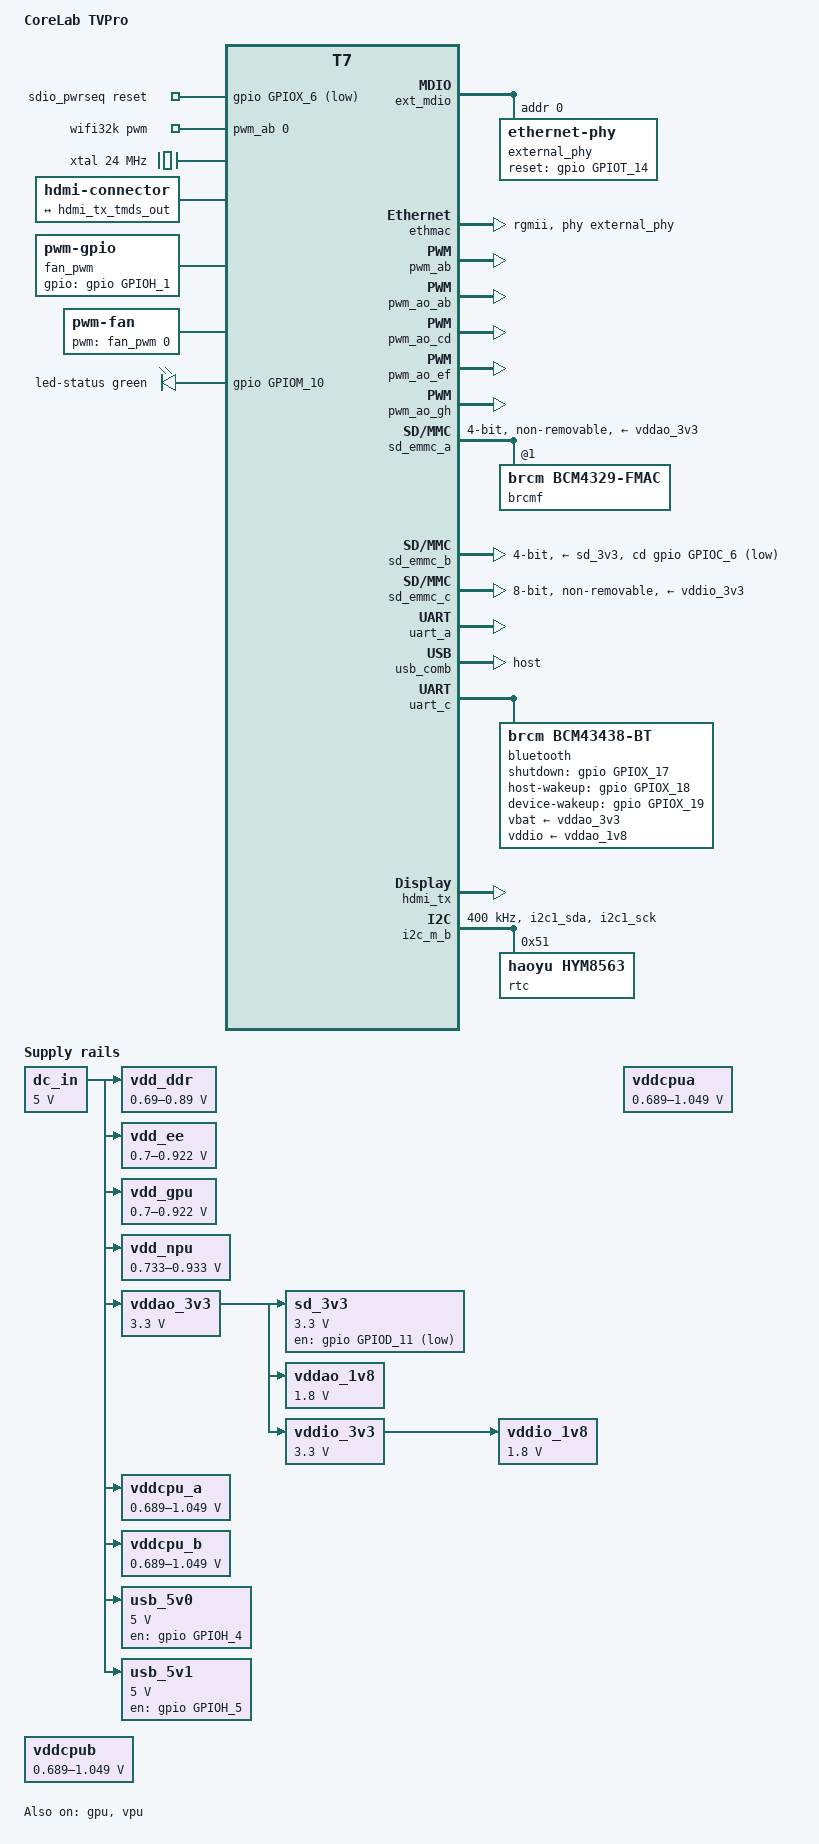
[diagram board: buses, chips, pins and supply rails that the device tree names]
// SPDX-License-Identifier: (GPL-2.0+ OR MIT)
/*
 * Copyright (c) 2022 Wesion, Inc. All rights reserved.
 */

#include "amlogic-t7.dtsi"
#include <dt-bindings/gpio/amlogic,t7-periphs-pinctrl.h>
#include <dt-bindings/gpio/gpio.h>
#include <dt-bindings/leds/common.h>
#include <dt-bindings/pwm/pwm.h>

/ {
	model = "CoreLab TVPro";
	compatible = "corelab,tvpro", "amlogic,a311d2", "amlogic,t7";

	aliases {
		serial0 = &uart_a;
		mmc0 = &sd_emmc_c;
		mmc1 = &sd_emmc_b;
		mmc2 = &sd_emmc_a;
		rtc0 = &rtc;
		rtc1 = &vrtc;
	};

	reserved-memory {
		#address-cells = <2>;
		#size-cells = <2>;
		ranges;

		/* 3 MiB reserved for ARM Trusted Firmware (BL31) */
		secmon_reserved: secmon@5000000 {
			reg = <0x0 0x05000000 0x0 0x300000>;
			no-map;
		};

		/* 32 MiB reserved for ARM Trusted Firmware (BL32) */
		secmon_reserved_bl32: secmon@5300000 {
			reg = <0x0 0x05300000 0x0 0x2000000>;
			no-map;
		};

		/* 16 MiB reserved for PCIe BL31 memory-protection via SMC */
	};

	dc_in: regulator-dc-in {
		compatible = "regulator-fixed";
		regulator-name = "DC_IN";
		regulator-min-microvolt = <5000000>;
		regulator-max-microvolt = <5000000>;
		regulator-always-on;
	};

	sd_3v3: regulator-sdcard-3v3 {
		compatible = "regulator-fixed";
		regulator-name = "SD_3V3";
		regulator-min-microvolt = <3300000>;
		regulator-max-microvolt = <3300000>;
		vin-supply = <&vddao_3v3>;
		gpio = <&gpio GPIOD_11 GPIO_ACTIVE_LOW>;
		regulator-boot-on;
	};

	sdio_pwrseq: sdio-pwrseq {
		compatible = "mmc-pwrseq-simple";
		reset-gpios = <&gpio GPIOX_6 GPIO_ACTIVE_LOW>;
		post-power-on-delay-ms = <500>;
		power-off-delay-us = <200000>;
		clocks = <&wifi32k>;
		clock-names = "ext_clock";
	};

	vdd_ddr: regulator-vddddr {
		/*
		 * SY8003ADFC Regulator.
		 */
		compatible = "pwm-regulator";
		regulator-name = "VDDDDR";
		regulator-min-microvolt = <690000>;
		regulator-max-microvolt = <890000>;
		pwm-supply = <&dc_in>;
		pwms = <&pwm_ao_gh 0 1500 0>;
		pwm-dutycycle-range = <100 0>;
		regulator-boot-on;
		regulator-always-on;
	};

	vdd_ee: regulator-vddee {
		/*
		 * MP8756GD Regulator.
		 */
		compatible = "pwm-regulator";
		regulator-name = "VDDEE";
		regulator-min-microvolt = <700000>;
		regulator-max-microvolt = <922000>;
		pwm-supply = <&dc_in>;
		pwms = <&pwm_ao_ab 0 1500 0>;
		pwm-dutycycle-range = <100 0>;
		regulator-boot-on;
		regulator-always-on;
	};

	vdd_gpu: regulator-vddgpu {
		/*
		 * SY8003ADFC Regulator.
		 */
		compatible = "pwm-regulator";
		regulator-name = "VDDGPU";
		regulator-min-microvolt = <700000>;
		regulator-max-microvolt = <922000>;
		pwm-supply = <&dc_in>;
		pwms = <&pwm_ao_ef 0 1500 0>;
		pwm-dutycycle-range = <100 0>;
		regulator-boot-on;
		regulator-always-on;
	};

	vdd_npu: regulator-vddnpu {
		/*
		 * SY8003ADFC Regulator.
		 */
		compatible = "pwm-regulator";
		regulator-name = "VDDNPU";
		regulator-min-microvolt = <733000>;
		regulator-max-microvolt = <933000>;
		pwm-supply = <&dc_in>;
		pwms = <&pwm_ao_ef 1 1500 0>;
		pwm-dutycycle-range = <100 0>;
		regulator-boot-on;
		regulator-always-on;
	};

	vddao_1v8: regulator-vddao-1v8 {
		compatible = "regulator-fixed";
		regulator-name = "VDDAO_1V8";
		regulator-min-microvolt = <1800000>;
		regulator-max-microvolt = <1800000>;
		vin-supply = <&vddao_3v3>;
		regulator-always-on;
	};

	vddao_3v3: regulator-vddao-3v3 {
		compatible = "regulator-fixed";
		regulator-name = "VDDAO_3V3";
		regulator-min-microvolt = <3300000>;
		regulator-max-microvolt = <3300000>;
		vin-supply = <&dc_in>;
		regulator-always-on;
	};

	vddcpu_a: regulator-vddcpu-a {
		/*
		 * MP8756GD Regulator.
		 */
		compatible = "pwm-regulator";
		regulator-name = "VDDCPU_A";
		regulator-min-microvolt = <689000>;
		regulator-max-microvolt = <1049000>;
		pwm-supply = <&dc_in>;
		pwms = <&pwm_ao_cd 1 1500 0>;
		pwm-dutycycle-range = <100 0>;
		regulator-boot-on;
		regulator-always-on;
	};

	vddcpu_b: regulator-vddcpu-b {
		/*
		 * MP8756GD Regulator.
		 */
		compatible = "pwm-regulator";
		regulator-name = "VDDCPU_B";
		regulator-min-microvolt = <689000>;
		regulator-max-microvolt = <1049000>;
		pwm-supply = <&dc_in>;
		pwms = <&pwm_ao_ab 1 1500 0>;
		pwm-dutycycle-range = <100 0>;
		regulator-boot-on;
		regulator-always-on;
	};

	vddio_1v8: regulator-vddio-1v8 {
		compatible = "regulator-fixed";
		regulator-name = "VDDIO_1V8";
		regulator-min-microvolt = <1800000>;
		regulator-max-microvolt = <1800000>;
		vin-supply = <&vddio_3v3>;
		regulator-always-on;
	};

	vddio_3v3: regulator-vddio-3v3 {
		compatible = "regulator-fixed";
		regulator-name = "VDDIO_3V3";
		regulator-min-microvolt = <3300000>;
		regulator-max-microvolt = <3300000>;
		vin-supply = <&vddao_3v3>;
		regulator-always-on;
	};

	wifi32k: wifi32k {
		compatible = "pwm-clock";
		#clock-cells = <0>;
		clock-frequency = <32768>;
			pwms = <&pwm_ab 0 30518 0>;
	};

	xtal: xtal-clk {
		compatible = "fixed-clock";
		clock-frequency = <24000000>;
		clock-output-names = "xtal";
		#clock-cells = <0>;
	};

	vddcpua: regulator-vddcpu-a {
		compatible = "pwm-regulator";
		regulator-name = "VDDCPU_A";
		regulator-min-microvolt = <689000>;
		regulator-max-microvolt = <1049000>;
		/* the filtered PWM output needs time to settle */
		regulator-ramp-delay = <150>;
		pwms = <&pwm_ao_cd 1 1500 0>;
		voltage-table = <1049000 0>,
				<1039000 3>,
				<1029000 6>,
				<1019000 9>,
				<1009000 12>,
				<999000 14>,
				<989000 17>,
				<979000 20>,
				<969000 23>,
				<959000 26>,
				<949000 29>,
				<939000 31>,
				<929000 34>,
				<919000 37>,
				<909000 40>,
				<899000 43>,
				<889000 45>,
				<879000 48>,
				<869000 51>,
				<859000 54>,
				<849000 56>,
				<839000 59>,
				<829000 62>,
				<819000 65>,
				<809000 68>,
				<799000 70>,
				<789000 73>,
				<779000 76>,
				<769000 79>,
				<759000 81>,
				<749000 84>,
				<739000 87>,
				<729000 89>,
				<719000 92>,
				<709000 95>,
				<699000 98>,
				<689000 100>;
		regulator-boot-on;
		regulator-always-on;
	};

	vddcpub: regulator-vddcpu-b {
		compatible = "pwm-regulator";
		regulator-name = "VDDCPU_B";
		regulator-min-microvolt = <689000>;
		regulator-max-microvolt = <1049000>;
		/* the filtered PWM output needs time to settle */
		regulator-ramp-delay = <150>;
		pwms = <&pwm_ao_ab 1 1500 0>;
		voltage-table = <1049000 0>,
				<1039000 3>,
				<1029000 6>,
				<1019000 9>,
				<1009000 12>,
				<999000 14>,
				<989000 17>,
				<979000 20>,
				<969000 23>,
				<959000 26>,
				<949000 29>,
				<939000 31>,
				<929000 34>,
				<919000 37>,
				<909000 40>,
				<899000 43>,
				<889000 45>,
				<879000 48>,
				<869000 51>,
				<859000 54>,
				<849000 56>,
				<839000 59>,
				<829000 62>,
				<819000 65>,
				<809000 68>,
				<799000 70>,
				<789000 73>,
				<779000 76>,
				<769000 79>,
				<759000 81>,
				<749000 84>,
				<739000 87>,
				<729000 89>,
				<719000 92>,
				<709000 95>,
				<699000 98>,
				<689000 100>;
		regulator-boot-on;
		regulator-always-on;
	};


	sound {
		compatible = "amlogic,axg-sound-card";
		model = "CORELAB-TVPRO";
		audio-aux-devs = <&tdmout_a>, <&tdmout_b>, <&tdmout_c>;
		audio-routing = "TDMOUT_A IN 0", "FRDDR_A OUT 0",
				"TDMOUT_A IN 1", "FRDDR_B OUT 0",
				"TDMOUT_A IN 2", "FRDDR_C OUT 0",
				"TDM_A Playback", "TDMOUT_A OUT",
				"TDMOUT_B IN 0", "FRDDR_A OUT 1",
				"TDMOUT_B IN 1", "FRDDR_B OUT 1",
				"TDMOUT_B IN 2", "FRDDR_C OUT 1",
				"TDM_B Playback", "TDMOUT_B OUT",
				"TDMOUT_C IN 0", "FRDDR_A OUT 2",
				"TDMOUT_C IN 1", "FRDDR_B OUT 2",
				"TDMOUT_C IN 2", "FRDDR_C OUT 2",
				"TDM_C Playback", "TDMOUT_C OUT",
				"SPDIFOUT_A IN 0", "FRDDR_A OUT 3",
				"SPDIFOUT_A IN 1", "FRDDR_B OUT 3",
				"SPDIFOUT_A IN 2", "FRDDR_C OUT 3",
				"SPDIFOUT_B IN 0", "FRDDR_A OUT 4",
				"SPDIFOUT_B IN 1", "FRDDR_B OUT 4",
				"SPDIFOUT_B IN 2", "FRDDR_C OUT 4";
		clocks = <&hifi CLKID_HIFI_PLL>,
			 <&mpll CLKID_MPLL0>,
			 <&mpll CLKID_MPLL1>;
		assigned-clocks = <&hifi CLKID_HIFI_PLL>,
				  <&mpll CLKID_MPLL0>,
				  <&mpll CLKID_MPLL1>;
		assigned-clock-rates = <1179648000>,
				       <270950400>,
				       <338688000>;

		dai-link-0 {
			sound-dai = <&frddr_a>;
		};

		dai-link-1 {
			sound-dai = <&frddr_b>;
		};

		dai-link-2 {
			sound-dai = <&frddr_c>;
		};

		/* 8ch HDMI interface */
		dai-link-3 {
			sound-dai = <&tdmif_a>;
			dai-format = "i2s";
			dai-tdm-slot-tx-mask-0 = <1 1>;
			dai-tdm-slot-tx-mask-1 = <1 1>;
			dai-tdm-slot-tx-mask-2 = <1 1>;
			dai-tdm-slot-tx-mask-3 = <1 1>;
			mclk-fs = <256>;

			codec {
				sound-dai = <&tohdmitx TOHDMITX_I2S_IN_A>;
			};
		};

		dai-link-4 {
			sound-dai = <&tdmif_b>;
			dai-format = "i2s";
			dai-tdm-slot-tx-mask-0 = <1 1>;
			mclk-fs = <256>;

			codec {
				sound-dai = <&tohdmitx TOHDMITX_I2S_IN_B>;
			};
		};

		dai-link-5 {
			sound-dai = <&tdmif_c>;
			dai-format = "i2s";
			dai-tdm-slot-tx-mask-0 = <1 1>;
			mclk-fs = <256>;

			codec {
				sound-dai = <&tohdmitx TOHDMITX_I2S_IN_C>;
			};
		};

		dai-link-6 {
			sound-dai = <&spdifout_a>;

			codec {
				sound-dai = <&tohdmitx TOHDMITX_SPDIF_IN_A>;
			};
		};

		dai-link-7 {
			sound-dai = <&spdifout_b>;

			codec {
				sound-dai = <&tohdmitx TOHDMITX_SPDIF_IN_B>;
			};
		};

		/* HDMI transmitter, fed from the TDM interfaces by tohdmitx */
		dai-link-8 {
			sound-dai = <&tohdmitx TOHDMITX_I2S_OUT>;

			codec {
				sound-dai = <&hdmi_tx>;
			};
		};
	};
};

&a53_thermal {
	trips {
		a53_active: a53-active {
			temperature = <50000>; /* millicelsius */
			hysteresis = <2000>; /* millicelsius */
			type = "active";
		};
	};

	cooling-maps {
		map {
			trip = <&a53_active>;
			cooling-device = <&fan 0 3>;
		};
	};
};

&a73_thermal {
	trips {
		a73_active: a73-active {
			temperature = <50000>; /* millicelsius */
			hysteresis = <2000>; /* millicelsius */
			type = "active";
		};
	};

	cooling-maps {
		map {
			trip = <&a73_active>;
			cooling-device = <&fan 0 3>;
		};
	};
};

&gpu_thermal {
	trips {
		gpu_active: gpu-active {
			temperature = <50000>; /* millicelsius */
			hysteresis = <2000>; /* millicelsius */
			type = "active";
		};
	};

	cooling-maps {
		map {
			trip = <&gpu_active>;
			cooling-device = <&fan 0 3>;
		};
	};
};

&hevc_thermal {
	trips {
		hevc_active: hevc-active {
			temperature = <50000>; /* millicelsius */
			hysteresis = <2000>; /* millicelsius */
			type = "active";
		};
	};

	cooling-maps {
		map {
			trip = <&hevc_active>;
			cooling-device = <&fan 0 3>;
		};
	};
};

&ext_mdio {
	external_phy: ethernet-phy@0 {
		reg = <0>;
		max-speed = <1000>;
		reset-assert-us = <20000>;
		reset-deassert-us = <50000>;
		reset-gpios = <&gpio GPIOT_14 GPIO_ACTIVE_HIGH>;
	};
};

&ethmac {
	status = "okay";
	pinctrl-0 = <&eth_pins>, <&eth_rgmii_pins>;
	pinctrl-names = "default";
	phy-mode = "rgmii";
	phy-handle = <&external_phy>;
	rx-internal-delay-ps = <800>;
	amlogic,tx-delay-ns = <2>;
};

&cpu0 {
	cpu-supply = <&vddcpua>;
	operating-points-v2 = <&a73_opp_table>;
};

&cpu1 {
	cpu-supply = <&vddcpua>;
	operating-points-v2 = <&a73_opp_table>;
};

&cpu2 {
	cpu-supply = <&vddcpua>;
	operating-points-v2 = <&a73_opp_table>;
};

&cpu3 {
	cpu-supply = <&vddcpua>;
	operating-points-v2 = <&a73_opp_table>;
};

&cpu100 {
	cpu-supply = <&vddcpub>;
	operating-points-v2 = <&a53_opp_table>;
};

&cpu101 {
	cpu-supply = <&vddcpub>;
	operating-points-v2 = <&a53_opp_table>;
};

&cpu102 {
	cpu-supply = <&vddcpub>;
	operating-points-v2 = <&a53_opp_table>;
};

&cpu103 {
	cpu-supply = <&vddcpub>;
	operating-points-v2 = <&a53_opp_table>;
};

&nna_thermal {
	trips {
		nna_active: nna-active {
			temperature = <50000>; /* millicelsius */
			hysteresis = <2000>; /* millicelsius */
			type = "active";
		};
	};

	cooling-maps {
		map {
			trip = <&nna_active>;
			cooling-device = <&fan 0 3>;
		};
	};
};

&pwm_ab {
	status = "okay";
	pinctrl-0 = <&pwm_a_pins>;
	pinctrl-names = "default";
};

&pwm_ao_ab {
	status = "okay";
	pinctrl-0 = <&pwm_ao_a_pins>, <&pwm_ao_b_pins>;
	pinctrl-names = "default";
};

&pwm_ao_cd {
	status = "okay";
	pinctrl-0 = <&pwm_ao_d_pins>;
	pinctrl-names = "default";
};

&pwm_ao_ef {
	status = "okay";
	pinctrl-0 = <&pwm_ao_e_pins>, <&pwm_ao_f_pins>;
	pinctrl-names = "default";
};

&pwm_ao_gh {
	status = "okay";
	pinctrl-0 = <&pwm_ao_g_e_pins>;
	pinctrl-names = "default";
};

&pwm_ao_ab {
	status = "okay";
};

/* SDIO */
&sd_emmc_a {
	status = "okay";
	pinctrl-0 = <&sdio_pins>;
	pinctrl-1 = <&sdio_clk_gate_pins>;
	pinctrl-names = "default", "clk-gate";
	#address-cells = <1>;
	#size-cells = <0>;

	bus-width = <4>;
	cap-sd-highspeed;
	sd-uhs-sdr12;
	sd-uhs-sdr25;
	sd-uhs-sdr50;
	sd-uhs-sdr104;
	cap-sdio-irq;
	max-frequency = <200000000>;
	non-removable;
	disable-wp;
	no-mmc;
	no-sd;

	power-domains = <&pwrc PWRC_T7_SDIO_A_ID>;

	keep-power-in-suspend;

	mmc-pwrseq = <&sdio_pwrseq>;

	vmmc-supply = <&vddao_3v3>;
	vqmmc-supply = <&vddao_1v8>;

	brcmf: wifi@1 {
		reg = <1>;
		compatible = "brcm,bcm4329-fmac";
	};
};

/* SD card */
&sd_emmc_b {
	status = "okay";
	pinctrl-0 = <&sdcard_pins>;
	pinctrl-1 = <&sdcard_clk_gate_pins>;
	pinctrl-names = "default", "clk-gate";

	bus-width = <4>;
	cap-sd-highspeed;
	max-frequency = <50000000>;
	no-1-8-v;
	disable-wp;
	no-sdio;
	no-mmc;

	power-domains = <&pwrc PWRC_T7_SDIO_B_ID>;

	cd-gpios = <&gpio GPIOC_6 GPIO_ACTIVE_LOW>;
	vmmc-supply = <&sd_3v3>;
	vqmmc-supply = <&vddio_3v3>;
};

/* eMMC */
&sd_emmc_c {
	status = "okay";
	pinctrl-0 = <&emmc_ctrl_pins>, <&emmc_data_8b_pins>, <&emmc_ds_pins>;
	pinctrl-1 = <&emmc_clk_gate_pins>;
	pinctrl-names = "default", "clk-gate";

	bus-width = <8>;
	cap-mmc-highspeed;
	mmc-ddr-1_8v;
	mmc-hs200-1_8v;
	max-frequency = <200000000>;
	disable-wp;
	non-removable;
	no-sdio;
	no-sd;

	power-domains = <&pwrc PWRC_T7_EMMC_ID>;

	vmmc-supply = <&vddio_3v3>;
	vqmmc-supply = <&vddio_1v8>;
};

&uart_a {
	status = "okay";
	clocks = <&xtal>, <&clkc_periphs CLKID_SYS_UART_A>, <&xtal>;
	clock-names = "xtal", "pclk", "baud";
};

&vpu_thermal {
	trips {
		vpu_active: vpu-active {
			temperature = <50000>; /* millicelsius */
			hysteresis = <2000>; /* millicelsius */
			type = "active";
		};
	};

	cooling-maps {
		map {
			trip = <&vpu_active>;
			cooling-device = <&fan 0 3>;
		};
	};
};

&usb_comb {
	status = "okay";
	dr_mode = "host";
};

&usb2_phy0 {
	phy-supply = <&usb_5v0>;
};

&usb2_phy1 {
	phy-supply = <&usb_5v1>;
};

&usb3_phy {
	phy-supply = <&vddao_1v8>;
};

&uart_c {
	status = "okay";
	pinctrl-0 = <&uart_c_pins>;
	pinctrl-names = "default";
	uart-has-rtscts;

	bluetooth {
		compatible = "brcm,bcm43438-bt";
		shutdown-gpios = <&gpio GPIOX_17 GPIO_ACTIVE_HIGH>;
		host-wakeup-gpios = <&gpio GPIOX_18 GPIO_ACTIVE_HIGH>;
		device-wakeup-gpios = <&gpio GPIOX_19 GPIO_ACTIVE_HIGH>;
		max-speed = <3000000>;
		clocks = <&wifi32k>;
		clock-names = "lpo";
		vbat-supply = <&vddao_3v3>;
		vddio-supply = <&vddao_1v8>;
	};
};

&gpu {
	status = "okay";
};

/ {
	hdmi-connector {
		compatible = "hdmi-connector";
		type = "a";

		port {
			hdmi_connector_in: endpoint {
				remote-endpoint = <&hdmi_tx_tmds_out>;
			};
		};
	};
};

&hdmi_tx {
	status = "okay";
};

&hdmi_tx_tmds_out {
	remote-endpoint = <&hdmi_connector_in>;
};

&vpu {
	status = "okay";
};

/ {
	usb_5v0: regulator-usb-5v0 {
		compatible = "regulator-fixed";
		regulator-name = "USB_5V0";
		regulator-min-microvolt = <5000000>;
		regulator-max-microvolt = <5000000>;
		vin-supply = <&dc_in>;
		gpio = <&gpio GPIOH_4 GPIO_ACTIVE_HIGH>;
		enable-active-high;
	};

	usb_5v1: regulator-usb-5v1 {
		compatible = "regulator-fixed";
		regulator-name = "USB_5V1";
		regulator-min-microvolt = <5000000>;
		regulator-max-microvolt = <5000000>;
		vin-supply = <&dc_in>;
		gpio = <&gpio GPIOH_5 GPIO_ACTIVE_HIGH>;
		enable-active-high;
	};

	fan_pwm: pwm-gpio {
		compatible = "pwm-gpio";
		#pwm-cells = <3>;
		gpios = <&gpio GPIOH_1 GPIO_ACTIVE_HIGH>;
	};

	fan: pwm-fan {
		compatible = "pwm-fan";
		pwms = <&fan_pwm 0 40000 PWM_POLARITY_INVERTED>;
		cooling-levels = <0 120 170 220>;
		#cooling-cells = <2>;
	};

	leds {
		compatible = "gpio-leds";

		led-status {
			function = LED_FUNCTION_STATUS;
			color = <LED_COLOR_ID_GREEN>;
			gpios = <&gpio GPIOM_10 GPIO_ACTIVE_HIGH>;
			linux,default-trigger = "heartbeat";
		};
	};
};

&periphs_pinctrl {
	i2c1_pins: i2c1 {
		mux {
			groups = "i2c1_sda", "i2c1_sck";
			function = "i2c1";
			bias-disable;
		};
	};
};

&i2c_m_b {
	status = "okay";
	pinctrl-0 = <&i2c1_pins>;
	pinctrl-names = "default";
	clock-frequency = <400000>;

	rtc: rtc@51 {
		compatible = "haoyu,hym8563";
		reg = <0x51>;
		#clock-cells = <0>;
	};
};
